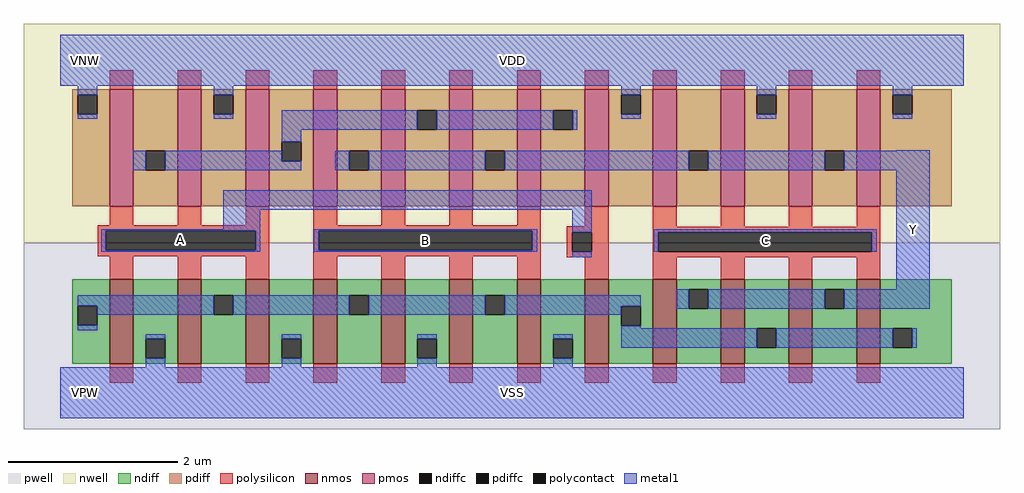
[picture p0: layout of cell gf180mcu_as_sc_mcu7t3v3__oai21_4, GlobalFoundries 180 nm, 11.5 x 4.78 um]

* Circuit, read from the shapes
.subckt gf180mcu_as_sc_mcu7t3v3__oai21_4 VDD VNW VPW VSS A B C Y
XM1 VSS A n1 VPW nfet_03v3 w=1u l=0.28u m=4
XM2 n1 B VSS VPW nfet_03v3 w=1u l=0.28u m=4
XM3 Y C n1 VPW nfet_03v3 w=1u l=0.28u m=4
XM4 n2 A VDD VNW pfet_03v3 w=1.38u l=0.28u m=4
XM5 Y B n2 VNW pfet_03v3 w=1.38u l=0.28u m=4
XM6 Y C VDD VNW pfet_03v3 w=1.38u l=0.28u m=4
.ends

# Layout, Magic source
magic
tech gf180mcuD
magscale 1 10
<< nwell >>
rect -86 354 2214 870
<< pwell >>
rect -86 -86 2214 354
<< nmos >>
rect 116 68 172 268
rect 276 68 332 268
rect 436 68 492 268
rect 596 68 652 268
rect 756 68 812 268
rect 916 68 972 268
rect 1076 68 1132 268
rect 1236 68 1292 268
rect 1396 68 1452 268
rect 1556 68 1612 268
rect 1716 68 1772 268
rect 1876 68 1932 268
<< pmos >>
rect 116 440 172 716
rect 276 440 332 716
rect 436 440 492 716
rect 596 440 652 716
rect 756 440 812 716
rect 916 440 972 716
rect 1076 440 1132 716
rect 1236 440 1292 716
rect 1396 440 1452 716
rect 1556 440 1612 716
rect 1716 440 1772 716
rect 1876 440 1932 716
<< ndiff >>
rect 28 205 116 268
rect 28 159 41 205
rect 87 159 116 205
rect 28 68 116 159
rect 172 127 276 268
rect 172 81 201 127
rect 247 81 276 127
rect 172 68 276 81
rect 332 230 436 268
rect 332 184 361 230
rect 407 184 436 230
rect 332 68 436 184
rect 492 127 596 268
rect 492 81 521 127
rect 567 81 596 127
rect 492 68 596 81
rect 652 230 756 268
rect 652 184 681 230
rect 727 184 756 230
rect 652 68 756 184
rect 812 127 916 268
rect 812 81 841 127
rect 887 81 916 127
rect 812 68 916 81
rect 972 230 1076 268
rect 972 184 1001 230
rect 1047 184 1076 230
rect 972 68 1076 184
rect 1132 127 1236 268
rect 1132 81 1161 127
rect 1207 81 1236 127
rect 1132 68 1236 81
rect 1292 204 1396 268
rect 1292 158 1321 204
rect 1367 158 1396 204
rect 1292 68 1396 158
rect 1452 244 1556 268
rect 1452 198 1481 244
rect 1527 198 1556 244
rect 1452 68 1556 198
rect 1612 152 1716 268
rect 1612 106 1641 152
rect 1687 106 1716 152
rect 1612 68 1716 106
rect 1772 244 1876 268
rect 1772 198 1801 244
rect 1847 198 1876 244
rect 1772 68 1876 198
rect 1932 152 2100 268
rect 1932 106 1961 152
rect 2007 106 2100 152
rect 1932 68 2100 106
<< pdiff >>
rect 28 703 116 716
rect 28 657 41 703
rect 87 657 116 703
rect 28 440 116 657
rect 172 570 276 716
rect 172 524 201 570
rect 247 524 276 570
rect 172 440 276 524
rect 332 703 436 716
rect 332 657 361 703
rect 407 657 436 703
rect 332 440 436 657
rect 492 592 596 716
rect 492 546 521 592
rect 567 546 596 592
rect 492 440 596 546
rect 652 570 756 716
rect 652 524 681 570
rect 727 524 756 570
rect 652 440 756 524
rect 812 666 916 716
rect 812 620 841 666
rect 887 620 916 666
rect 812 440 916 620
rect 972 571 1076 716
rect 972 525 1001 571
rect 1047 525 1076 571
rect 972 440 1076 525
rect 1132 666 1236 716
rect 1132 620 1161 666
rect 1207 620 1236 666
rect 1132 440 1236 620
rect 1292 703 1396 716
rect 1292 657 1321 703
rect 1367 657 1396 703
rect 1292 440 1396 657
rect 1452 571 1556 716
rect 1452 525 1481 571
rect 1527 525 1556 571
rect 1452 440 1556 525
rect 1612 703 1716 716
rect 1612 657 1641 703
rect 1687 657 1716 703
rect 1612 440 1716 657
rect 1772 570 1876 716
rect 1772 524 1801 570
rect 1847 524 1876 570
rect 1772 440 1876 524
rect 1932 703 2100 716
rect 1932 657 1961 703
rect 2007 657 2100 703
rect 1932 440 2100 657
<< ndiffc >>
rect 41 159 87 205
rect 201 81 247 127
rect 361 184 407 230
rect 521 81 567 127
rect 681 184 727 230
rect 841 81 887 127
rect 1001 184 1047 230
rect 1161 81 1207 127
rect 1321 158 1367 204
rect 1481 198 1527 244
rect 1641 106 1687 152
rect 1801 198 1847 244
rect 1961 106 2007 152
<< pdiffc >>
rect 41 657 87 703
rect 201 524 247 570
rect 361 657 407 703
rect 521 546 567 592
rect 681 524 727 570
rect 841 620 887 666
rect 1001 525 1047 571
rect 1161 620 1207 666
rect 1321 657 1367 703
rect 1481 525 1527 571
rect 1641 657 1687 703
rect 1801 524 1847 570
rect 1961 657 2007 703
<< polysilicon >>
rect 116 716 172 760
rect 276 716 332 760
rect 436 716 492 760
rect 596 716 652 760
rect 756 716 812 760
rect 916 716 972 760
rect 1076 716 1132 760
rect 1236 716 1292 760
rect 1396 716 1452 760
rect 1556 716 1612 760
rect 1716 716 1772 760
rect 1876 716 1932 760
rect 116 395 172 440
rect 276 395 332 440
rect 436 395 492 440
rect 88 382 492 395
rect 88 336 107 382
rect 460 336 492 382
rect 88 322 492 336
rect 116 268 172 322
rect 276 268 332 322
rect 436 268 492 322
rect 596 395 652 440
rect 756 395 812 440
rect 916 395 972 440
rect 1076 395 1132 440
rect 596 382 1132 395
rect 1236 393 1292 440
rect 596 336 609 382
rect 1112 336 1132 382
rect 596 322 1132 336
rect 596 268 652 322
rect 756 268 812 322
rect 916 268 972 322
rect 1076 268 1132 322
rect 1193 379 1292 393
rect 1193 333 1206 379
rect 1252 333 1292 379
rect 1193 320 1292 333
rect 1236 268 1292 320
rect 1396 392 1452 440
rect 1556 392 1612 440
rect 1716 392 1772 440
rect 1876 392 1932 440
rect 1396 379 1932 392
rect 1396 333 1409 379
rect 1912 333 1932 379
rect 1396 319 1932 333
rect 1396 268 1452 319
rect 1556 268 1612 319
rect 1716 268 1772 319
rect 1876 268 1932 319
rect 116 24 172 68
rect 276 24 332 68
rect 436 24 492 68
rect 596 24 652 68
rect 756 24 812 68
rect 916 24 972 68
rect 1076 24 1132 68
rect 1236 24 1292 68
rect 1396 24 1452 68
rect 1556 24 1612 68
rect 1716 24 1772 68
rect 1876 24 1932 68
<< polycontact >>
rect 107 336 460 382
rect 609 336 1112 382
rect 1206 333 1252 379
rect 1409 333 1912 379
<< metal1 >>
rect 0 724 2128 844
rect 41 703 87 724
rect 41 646 87 657
rect 361 703 407 724
rect 1321 703 1367 724
rect 361 646 407 657
rect 521 620 841 666
rect 887 620 1161 666
rect 1207 620 1218 666
rect 1321 646 1367 657
rect 1641 703 1687 724
rect 1641 646 1687 657
rect 1961 703 2007 724
rect 1961 646 2007 657
rect 521 592 567 620
rect 171 524 201 570
rect 247 546 521 570
rect 1970 571 2049 572
rect 247 524 567 546
rect 647 570 1001 571
rect 647 524 681 570
rect 727 525 1001 570
rect 1047 525 1481 571
rect 1527 570 2049 571
rect 1527 525 1801 570
rect 727 524 1801 525
rect 1847 524 2049 570
rect 383 432 1252 478
rect 383 386 471 432
rect 96 382 471 386
rect 96 336 107 382
rect 460 336 471 382
rect 96 332 471 336
rect 597 382 1123 386
rect 597 336 609 382
rect 1112 336 1123 382
rect 597 332 1123 336
rect 1206 379 1252 432
rect 1206 320 1252 333
rect 1398 379 1924 386
rect 1398 333 1409 379
rect 1912 333 1924 379
rect 1398 332 1924 333
rect 1970 244 2049 524
rect 41 205 361 230
rect 87 184 361 205
rect 407 184 681 230
rect 727 184 1001 230
rect 1047 204 1367 230
rect 1047 184 1321 204
rect 41 148 87 159
rect 1452 198 1481 244
rect 1527 198 1801 244
rect 1847 198 2049 244
rect 1321 152 1367 158
rect 201 127 247 138
rect 201 60 247 81
rect 521 127 567 138
rect 521 60 567 81
rect 841 127 887 138
rect 841 60 887 81
rect 1161 127 1207 138
rect 1321 106 1641 152
rect 1687 106 1961 152
rect 2007 106 2018 152
rect 1161 60 1207 81
rect 0 -60 2128 60
<< labels >>
flabel metal1 s 0 724 2128 844 0 FreeSans 400 0 0 0 VDD
port 1 nsew power bidirectional abutment
flabel metal1 s 0 -60 2128 60 0 FreeSans 400 0 0 0 VSS
port 4 nsew ground bidirectional abutment
flabel nwell s 10 734 110 834 0 FreeSans 400 0 0 0 VNW
port 2 nsew power bidirectional
flabel pwell s 10 -50 110 50 0 FreeSans 400 0 0 0 VPW
port 3 nsew ground bidirectional
flabel metal1 96 335 471 386 0 FreeSans 200 0 0 0 A
port 5 nsew signal input
flabel metal1 597 332 1123 386 0 FreeSans 200 0 0 0 B
port 6 nsew signal input
flabel metal1 1398 332 1924 386 0 FreeSans 200 0 0 0 C
port 7 new signal input
flabel metal1 1970 198 2049 572 0 FreeSans 200 0 0 0 Y
port 8 nsew signal output
<< properties >>
string FIXED_BBOX 0 0 2128 784
string LEFclass CORE
string LEFsite unithd
string LEFsymmetry X Y
string MASKHINTS_NPLUS -16 -46 2144 354
string MASKHINTS_PPLUS -16 354 2144 830
<< end >>
